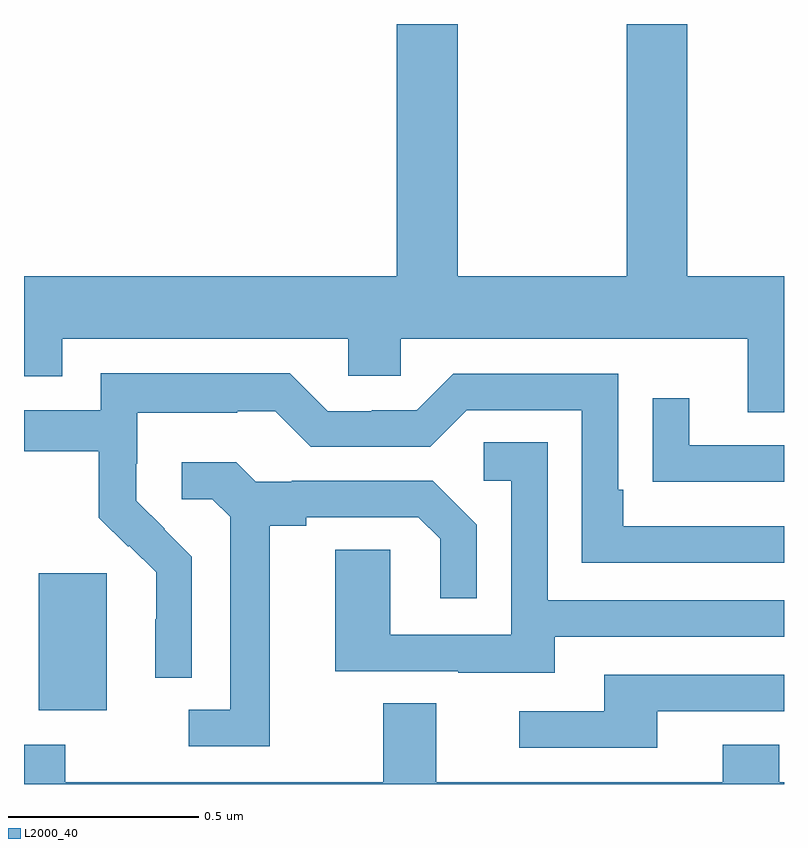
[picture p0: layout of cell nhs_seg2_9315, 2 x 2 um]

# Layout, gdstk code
import gdstk
lib = gdstk.Library(unit=1e-6, precision=1e-09)
def R(c, l, rs):  # rectangles x0, y0, x1, y1
    for r in rs: c.add(gdstk.rectangle(r[:2], r[2:], *l))
def P(c, l, *ps):  # polygons
    for p in ps: c.add(gdstk.Polygon(p, *l))
L2000_40 = (2000, 40)

nhs_seg2_9315 = lib.new_cell('nhs_seg2_9315')
R(nhs_seg2_9315, L2000_40, [(227.039,643.994,227.218,644.355)])
P(nhs_seg2_9315, L2000_40, [(229,645.136),(228.746,645.136),(228.746,645.8),(228.586,645.8),(228.586,645.136),(228.141,645.136),(228.141,645.8),(227.981,645.8),(227.981,645.136),(227,645.136),(227,644.873),(227.101,644.873),(227.101,644.972),(227.853,644.972),(227.853,644.874),(227.991,644.874),(227.991,644.972),(228.905,644.972),(228.905,644.778),(229,644.778)],
  [(227.442,644.398),(227.369,644.471),(227.37,644.472),(227.296,644.546),(227.296,644.643),(227.298,644.643),(227.298,644.777),(227.561,644.777),(227.561,644.781),(227.661,644.781),(227.754,644.688),(228.069,644.688),(228.165,644.784),(228.468,644.784),(228.468,644.382),(229,644.382),(229,644.478),(228.577,644.478),(228.577,644.575),(228.564,644.575),(228.564,644.88),(228.129,644.88),(228.033,644.784),(227.915,644.784),(227.915,644.781),(227.799,644.781),(227.699,644.881),(227.202,644.881),(227.202,644.784),(227,644.784),(227,644.676),(227.197,644.676),(227.197,644.501),(227.274,644.424),(227.277,644.427),(227.348,644.357),(227.348,644.234),(227.346,644.234),(227.346,644.08),(227.442,644.08)],
  [(229,644.691),(228.751,644.691),(228.751,644.815),(228.655,644.815),(228.655,644.596),(228.757,644.596),(228.757,644.595),(229,644.595)],
  [(228.397,644.187),(229,644.187),(229,644.283),(228.378,644.283),(228.378,644.699),(228.21,644.699),(228.21,644.598),(228.282,644.598),(228.282,644.193),(227.964,644.193),(227.964,644.417),(227.819,644.417),(227.819,644.097),(228.143,644.097),(228.143,644.093),(228.397,644.093)],
  [(227.647,644.48),(227.743,644.48),(227.743,644.502),(228.038,644.502),(228.095,644.445),(228.095,644.289),(228.192,644.289),(228.192,644.482),(228.076,644.598),(227.704,644.598),(227.704,644.595),(227.61,644.595),(227.558,644.647),(227.415,644.647),(227.415,644.55),(227.496,644.55),(227.543,644.503),(227.543,643.995),(227.433,643.995),(227.433,643.899),(227.647,643.899)],
  [(228.667,643.992),(229,643.992),(229,644.088),(228.527,644.088),(228.527,643.992),(228.303,643.992),(228.303,643.896),(228.667,643.896)],
  [(229,643.804),(228.987,643.804),(228.987,643.903),(228.839,643.903),(228.839,643.804),(228.085,643.804),(228.085,644.012),(227.945,644.012),(227.945,643.804),(227.109,643.804),(227.109,643.903),(227,643.903),(227,643.8),(229,643.8)])

lib.write_gds('nhs_seg2_9315.gds')
